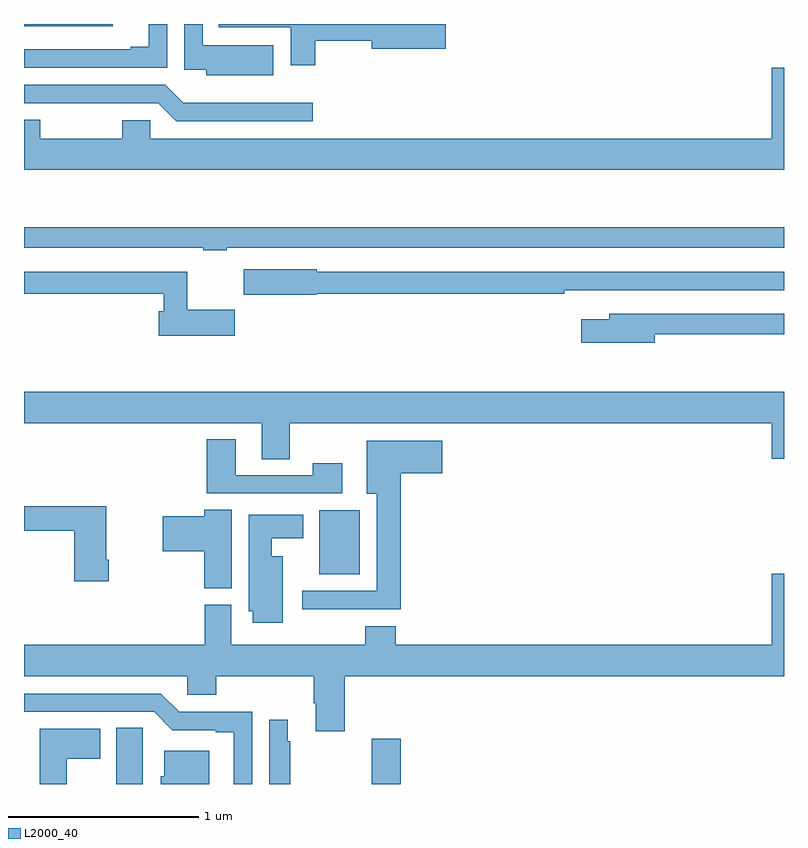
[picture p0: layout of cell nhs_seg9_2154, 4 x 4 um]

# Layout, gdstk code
import gdstk
lib = gdstk.Library(unit=1e-6, precision=1e-09)
def R(c, l, rs):  # rectangles x0, y0, x1, y1
    for r in rs: c.add(gdstk.rectangle(r[:2], r[2:], *l))
def P(c, l, *ps):  # polygons
    for p in ps: c.add(gdstk.Polygon(p, *l))
L2000_40 = (2000, 40)

nhs_seg9_2154 = lib.new_cell('nhs_seg9_2154')
R(nhs_seg9_2154, L2000_40, [(234.554,1215.605,234.766,1215.94), (233.001,1218.488,233.467,1218.5)])
P(nhs_seg9_2154, L2000_40, [(234.313,1218.388),(233.94,1218.388),(233.94,1218.5),(233.844,1218.5),(233.844,1218.26),(233.96,1218.26),(233.96,1218.23),(234.313,1218.23)],
  [(233.754,1218.5),(233.657,1218.5),(233.657,1218.379),(233.561,1218.379),(233.561,1218.366),(233,1218.366),(233,1218.27),(233.754,1218.27)],
  [(234.534,1218.412),(234.83,1218.412),(234.83,1218.37),(235.219,1218.37),(235.219,1218.5),(234.025,1218.5),(234.025,1218.482),(234.404,1218.482),(234.404,1218.282),(234.534,1218.282)],
  [(237,1218.271),(236.936,1218.271),(236.936,1217.896),(233.664,1217.896),(233.664,1217.994),(233.518,1217.994),(233.518,1217.896),(233.085,1217.896),(233.085,1217.995),(233,1217.995),(233,1217.732),(237,1217.732)],
  [(234.52,1218.085),(233.838,1218.085),(233.743,1218.18),(233,1218.18),(233,1218.084),(233.173,1218.084),(233.173,1218.083),(233.429,1218.083),(233.429,1218.084),(233.706,1218.084),(233.802,1217.988),(234.52,1217.988)],
  [(234.068,1217.322),(237,1217.322),(237,1217.431),(233,1217.431),(233,1217.322),(233.944,1217.322),(233.944,1217.31),(234.068,1217.31)],
  [(234.54,1217.08),(235.844,1217.08),(235.844,1217.1),(237,1217.1),(237,1217.196),(234.54,1217.196),(234.54,1217.209),(234.156,1217.209),(234.156,1217.075),(234.54,1217.075)],
  [(234.109,1216.995),(233.86,1216.995),(233.86,1217.196),(233,1217.196),(233,1217.08),(233.735,1217.08),(233.735,1216.987),(233.708,1216.987),(233.708,1216.858),(234.109,1216.858)],
  [(236.32,1216.866),(237,1216.866),(237,1216.974),(236.081,1216.974),(236.081,1216.945),(235.932,1216.945),(235.932,1216.823),(236.32,1216.823)],
  [(234.399,1216.4),(236.936,1216.4),(236.936,1216.212),(237,1216.212),(237,1216.564),(233,1216.564),(233,1216.4),(234.251,1216.4),(234.251,1216.21),(234.399,1216.21)],
  [(234.676,1216.189),(234.52,1216.189),(234.52,1216.125),(234.115,1216.125),(234.115,1216.315),(233.963,1216.315),(233.963,1216.029),(234.676,1216.029)],
  [(234.983,1216.136),(235.201,1216.136),(235.201,1216.306),(234.803,1216.306),(234.803,1216.028),(234.857,1216.028),(234.857,1215.516),(234.465,1215.516),(234.465,1215.419),(234.983,1215.419)],
  [(233.447,1215.679),(233.434,1215.679),(233.434,1215.961),(233,1215.961),(233,1215.832),(233.264,1215.832),(233.264,1215.567),(233.447,1215.567)],
  [(234.094,1215.944),(233.948,1215.944),(233.948,1215.908),(233.73,1215.908),(233.73,1215.725),(233.948,1215.725),(233.948,1215.529),(234.094,1215.529)],
  [(234.361,1215.7),(234.304,1215.7),(234.304,1215.794),(234.469,1215.794),(234.469,1215.916),(234.182,1215.916),(234.182,1215.408),(234.203,1215.408),(234.203,1215.348),(234.361,1215.348)],
  [(234.689,1215.068),(237,1215.068),(237,1215.607),(236.936,1215.607),(236.936,1215.232),(234.956,1215.232),(234.956,1215.331),(234.796,1215.331),(234.796,1215.232),(234.091,1215.232),(234.091,1215.444),(233.951,1215.444),(233.951,1215.232),(233,1215.232),(233,1215.068),(233.859,1215.068),(233.859,1214.97),(234.011,1214.97),(234.011,1215.068),(234.524,1215.068),(234.524,1214.926),(234.536,1214.926),(234.536,1214.778),(234.689,1214.778)],
  [(234.201,1214.88),(233.817,1214.88),(233.721,1214.976),(233,1214.976),(233,1214.88),(233.685,1214.88),(233.781,1214.784),(234.008,1214.784),(234.008,1214.772),(234.104,1214.772),(234.104,1214.5),(234.201,1214.5)],
  [(234.4,1214.726),(234.388,1214.726),(234.388,1214.839),(234.291,1214.839),(234.291,1214.5),(234.4,1214.5)],
  [(233.626,1214.684),(233.625,1214.684),(233.625,1214.795),(233.486,1214.795),(233.486,1214.5),(233.626,1214.5)],
  [(233.224,1214.632),(233.401,1214.632),(233.401,1214.791),(233.084,1214.791),(233.084,1214.5),(233.224,1214.5)],
  [(234.983,1214.737),(234.829,1214.737),(234.829,1214.542),(234.83,1214.542),(234.83,1214.5),(234.983,1214.5)],
  [(233.974,1214.674),(233.738,1214.674),(233.738,1214.541),(233.72,1214.541),(233.72,1214.5),(233.974,1214.5)])

lib.write_gds('nhs_seg9_2154.gds')
